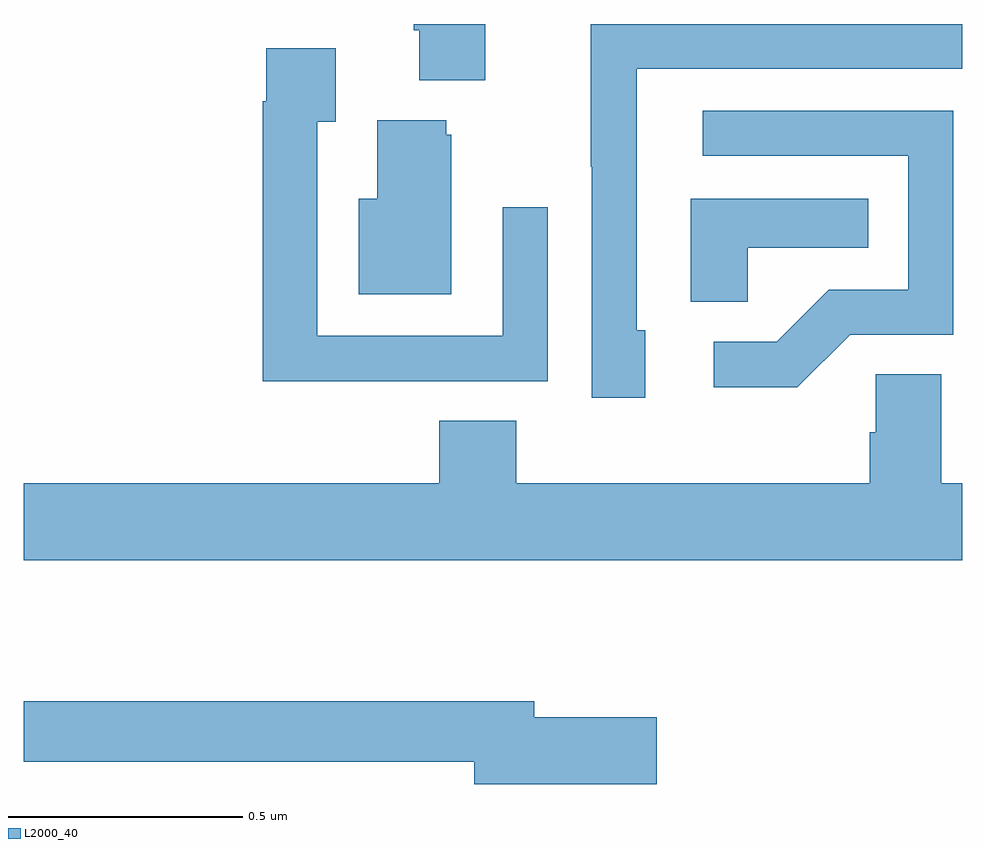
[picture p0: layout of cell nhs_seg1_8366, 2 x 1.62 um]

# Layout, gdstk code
import gdstk
lib = gdstk.Library(unit=1e-6, precision=1e-09)
def P(c, l, *ps):  # polygons
    for p in ps: c.add(gdstk.Polygon(p, *l))
L2000_40 = (2000, 40)

nhs_seg1_8366 = lib.new_cell('nhs_seg1_8366')
P(nhs_seg1_8366, L2000_40, [(215.983,562.199),(215.831,562.199),(215.831,562.186),(215.843,562.186),(215.843,562.079),(215.983,562.079)],
  [(216.325,561.546),(216.306,561.546),(216.306,562.104),(217,562.104),(217,562.199),(216.208,562.199),(216.208,561.895),(216.21,561.895),(216.21,561.402),(216.325,561.402)],
  [(215.801,561.438),(216.117,561.438),(216.117,561.808),(216.021,561.808),(216.021,561.534),(215.625,561.534),(215.625,561.991),(215.665,561.991),(215.665,562.147),(215.517,562.147),(215.517,562.034),(215.509,562.034),(215.509,561.437),(215.801,561.437)],
  [(216.762,561.537),(216.981,561.537),(216.981,562.014),(216.447,562.014),(216.447,561.918),(216.885,561.918),(216.885,561.633),(216.716,561.633),(216.605,561.522),(216.471,561.522),(216.471,561.425),(216.649,561.425)],
  [(215.911,561.963),(215.9,561.963),(215.9,561.994),(215.753,561.994),(215.753,561.826),(215.714,561.826),(215.714,561.623),(215.911,561.623)],
  [(216.543,561.722),(216.8,561.722),(216.8,561.826),(216.422,561.826),(216.422,561.607),(216.543,561.607)],
  [(217,561.22),(216.955,561.22),(216.955,561.452),(216.816,561.452),(216.816,561.329),(216.803,561.329),(216.803,561.22),(216.05,561.22),(216.05,561.353),(215.885,561.353),(215.885,561.22),(215,561.22),(215,561.056),(217,561.056)],
  [(216.349,560.721),(216.088,560.721),(216.088,560.755),(215,560.755),(215,560.626),(215.96,560.626),(215.96,560.579),(216.349,560.579)])

lib.write_gds('nhs_seg1_8366.gds')
